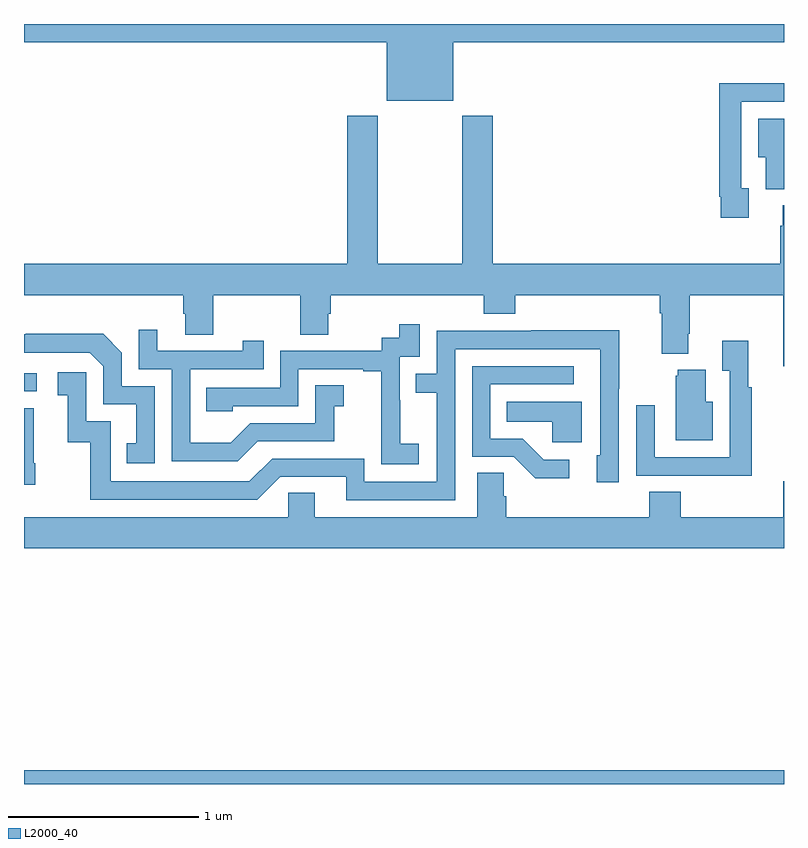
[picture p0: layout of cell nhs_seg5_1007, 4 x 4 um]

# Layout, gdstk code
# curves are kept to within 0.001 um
import gdstk
lib = gdstk.Library(unit=1e-6, precision=1e-09)
def R(c, l, rs):  # rectangles x0, y0, x1, y1
    for r in rs: c.add(gdstk.rectangle(r[:2], r[2:], *l))
def P(c, l, *ps):  # polygons
    for p in ps: c.add(gdstk.Polygon(p, *l))
L2000_40 = (2000, 40)

nhs_seg5_1007 = lib.new_cell('nhs_seg5_1007')
R(nhs_seg5_1007, L2000_40, [(173,908.799,177,908.872), (173,910.866,173.068,910.962)])
P(nhs_seg5_1007, L2000_40, [(175.258,912.704),(177,912.704),(177,912.799),(173,912.799),(173,912.704),(174.908,912.704),(174.908,912.395),(175.258,912.395)],
  [(176.815,911.934),(176.775,911.934),(176.775,912.39),(177,912.39),(177,912.486),(176.951,912.486),(176.951,912.488),(176.659,912.488),(176.659,911.89),(176.667,911.89),(176.667,911.778),(176.815,911.778)],
  [(177,911.845),(176.993,911.845),(176.993,911.738),(176.981,911.738),(176.981,911.536),(175.466,911.536),(175.466,912.316),(175.306,912.316),(175.306,911.536),(174.861,911.536),(174.861,912.316),(174.701,912.316),(174.701,911.536),(173,911.536),(173,911.372),(173.837,911.372),(173.837,911.274),(173.849,911.274),(173.849,911.164),(173.997,911.164),(173.997,911.372),(174.454,911.372),(174.454,911.164),(174.601,911.164),(174.601,911.274),(174.614,911.274),(174.614,911.372),(175.421,911.372),(175.421,911.273),(175.586,911.273),(175.586,911.372),(176.345,911.372),(176.345,911.276),(176.357,911.276),(176.357,911.063),(176.497,911.063),(176.497,911.17),(176.505,911.17),(176.505,911.372),(176.996,911.372),(176.996,910.998),(177,910.998)],
  [(177,912.301),(176.864,912.301),(176.864,912.098),(176.903,912.098),(176.903,911.93),(177,911.93)],
  [(175.078,910.591),(174.98,910.591),(174.98,910.82),(174.978,910.82),(174.978,911.049),(175.083,911.049),(175.083,911.218),(174.975,911.218),(174.975,911.148),(174.882,911.148),(174.882,911.079),(174.348,911.079),(174.348,910.884),(173.959,910.884),(173.959,910.761),(174.099,910.761),(174.099,910.788),(174.444,910.788),(174.444,910.983),(174.785,910.983),(174.785,910.971),(174.881,910.971),(174.881,910.687),(174.88,910.687),(174.88,910.481),(175.078,910.481)],
  [(174.229,910.602),(174.633,910.602),(174.633,910.787),(174.682,910.787),(174.682,910.897),(174.534,910.897),(174.534,910.698),(174.192,910.698),(174.088,910.594),(173.874,910.594),(173.874,910.983),(174.263,910.983),(174.263,911.131),(174.152,911.131),(174.152,911.079),(173.701,911.079),(173.701,911.191),(173.604,911.191),(173.604,910.983),(173.778,910.983),(173.778,910.497),(174.124,910.497)],
  [(175.269,911.088),(176.033,911.088),(176.034,910.53),(176.015,910.53),(176.015,910.386),(176.13,910.386),(176.13,910.879),(176.133,910.879),(176.133,911.186),(175.669,911.186),(175.669,911.184),(175.173,911.184),(175.173,910.959),(175.063,910.959),(175.063,910.858),(175.173,910.858),(175.173,910.389),(174.792,910.389),(174.792,910.512),(174.306,910.512),(174.186,910.392),(173.457,910.392),(173.457,910.707),(173.328,910.707),(173.328,910.966),(173.178,910.966),(173.178,910.845),(173.231,910.845),(173.231,910.599),(173.349,910.599),(173.349,910.296),(174.228,910.296),(174.348,910.416),(174.695,910.416),(174.695,910.293),(175.269,910.293)],
  [(173.688,910.893),(173.514,910.893),(173.514,911.07),(173.416,911.168),(173.008,911.168),(173.008,911.166),(173,911.166),(173,911.07),(173.346,911.07),(173.418,910.998),(173.418,910.797),(173.591,910.797),(173.591,910.593),(173.542,910.593),(173.542,910.488),(173.688,910.488)],
  [(176.831,910.886),(176.813,910.886),(176.813,911.131),(176.675,911.131),(176.675,910.975),(176.715,910.975),(176.715,910.518),(176.319,910.518),(176.319,910.792),(176.223,910.792),(176.223,910.422),(176.539,910.422),(176.539,910.421),(176.831,910.421)],
  [(175.87,910.506),(175.735,910.506),(175.624,910.617),(175.455,910.617),(175.455,910.902),(175.894,910.902),(175.894,910.998),(175.359,910.998),(175.359,910.521),(175.578,910.521),(175.691,910.409),(175.87,910.409)],
  [(176.626,910.81),(176.587,910.81),(176.587,910.978),(176.441,910.978),(176.441,910.947),(176.429,910.947),(176.429,910.607),(176.626,910.607)],
  [(175.936,910.81),(175.54,910.81),(175.54,910.706),(175.779,910.706),(175.779,910.598),(175.936,910.598)],
  [(173.058,910.486),(173.05,910.486),(173.05,910.777),(173,910.777),(173,910.374),(173.058,910.374)],
  [(177,910.393),(176.996,910.393),(176.996,910.204),(176.456,910.204),(176.456,910.337),(176.291,910.337),(176.291,910.204),(175.538,910.204),(175.538,910.313),(175.524,910.313),(175.524,910.436),(175.385,910.436),(175.385,910.204),(174.529,910.204),(174.529,910.331),(174.39,910.331),(174.39,910.204),(173,910.204),(173,910.04),(177,910.04)])

lib.write_gds('nhs_seg5_1007.gds')
